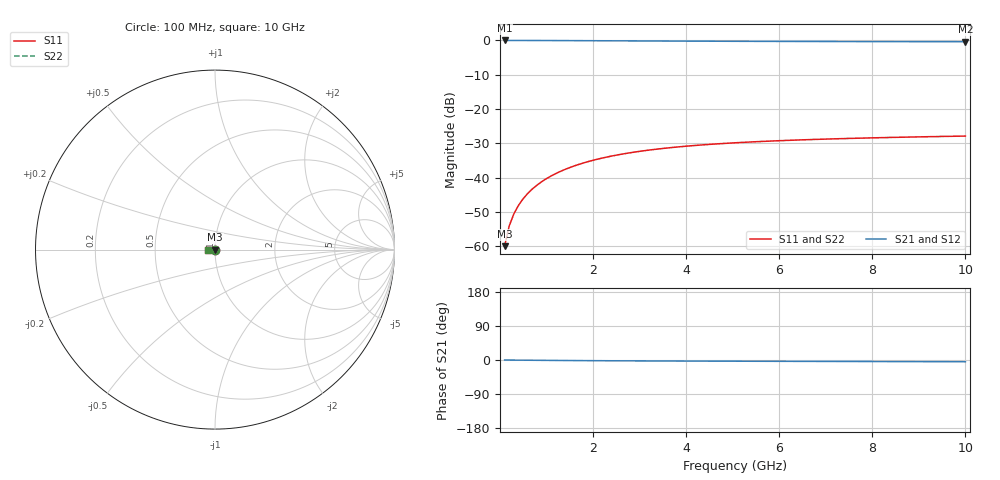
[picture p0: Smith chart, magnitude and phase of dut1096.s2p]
! Touchstone file exported from HFSS 2024.1.0
!  File:  C:/UserFiles/LocalFiles/RDL_TSV_Batchsim/temp_TSV1_1096_1780066759.aedt
!  Generated:  11:06:05 PM May 29, 2026
!  Design:  TSV1
!  Project:  temp_TSV1_1096_1780066759
!  Setup:  Setup1
!  Solution:  Sweep
! Variables:
!  dtsv = 8.53um
!  hbump = 3um
!  htsv = 72.02um
!  lrdl = 252.1521522um
!  p = 40
!  p1 = 40.16um
!  t = 500um
!  trdl = 3um
!  wrdl = 24.89489489um
# GHz S MA R 50.000000
! Terminal data exported
! Port[1] = TSV22_T1
! Port[2] = TSV22_T2
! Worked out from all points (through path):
!   100 points, 100 MHz to 10 GHz, reference 50 ohm
!   highest |S21| = 0.00 dB at 100 MHz (marker M1); lowest = -0.4 dB at 10 GHz (marker M2)
!   lowest |S11| = -60.0 dB at 100 MHz (marker M3), VSWR 1.00, Z = 50 - j0.0984 ohm
!   |S11| at or under -10 dB: start of sweep to end of sweep
!   |S22| runs from -60.0 to -27.9 dB; largest |S21 - S12| = 4.3e-15
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0.1  0.0009969 -80.6  0.9998 -0.1  0.9998 -0.1  0.0009969 -80.6
! Gamma 0 0 0 0
! Port Impedance 50 0 50 0
0.2  0.001977 -87.3  0.9997 -0.2  0.9997 -0.2  0.001977 -87.3
0.3  0.002963 -90.7  0.9995 -0.3  0.9995 -0.3  0.002963 -90.7
0.4  0.003946 -93.2  0.9993 -0.4  0.9993 -0.4  0.003946 -93.2
0.5  0.004922 -95.3  0.9991 -0.5  0.9991 -0.5  0.004922 -95.3
0.6  0.005889 -97.2  0.9988 -0.6  0.9988 -0.6  0.005889 -97.2
0.7  0.006846 -99.0  0.9984 -0.7  0.9984 -0.7  0.006846 -99.0
0.8  0.007791 -100.7  0.9981 -0.8  0.9981 -0.8  0.007791 -100.7
0.9  0.008723 -102.4  0.9976 -0.9  0.9976 -0.9  0.008723 -102.4
1.1  0.01054 -105.6  0.9967 -1.1  0.9967 -1.1  0.01054 -105.6
1.4  0.01315 -110.1  0.995 -1.3  0.995 -1.3  0.01315 -110.1
1.6  0.01479 -113.0  0.9937 -1.5  0.9937 -1.5  0.01479 -113.0
1.8  0.01636 -115.7  0.9924 -1.6  0.9924 -1.6  0.01636 -115.7
2.1  0.01856 -119.7  0.9903 -1.8  0.9903 -1.8  0.01856 -119.7
2.5  0.02121 -124.5  0.9874 -2.1  0.9874 -2.1  0.02121 -124.6
2.9  0.02356 -129.1  0.9846 -2.3  0.9846 -2.3  0.02356 -129.1
3.4  0.0261 -134.2  0.9812 -2.6  0.9812 -2.6  0.0261 -134.2
4.2  0.0294 -141.4  0.9764 -2.9  0.9764 -2.9  0.0294 -141.4
5.1  0.03226 -148.2  0.9719 -3.2  0.9719 -3.2  0.03226 -148.3
6.7  0.03585 -158.1  0.9658 -3.7  0.9658 -3.7  0.03585 -158.1
8.4  0.03845 -166.4  0.9614 -4.2  0.9614 -4.2  0.03845 -166.4
10  0.04027 -172.9  0.9584 -4.6  0.9584 -4.6  0.04027 -172.9
